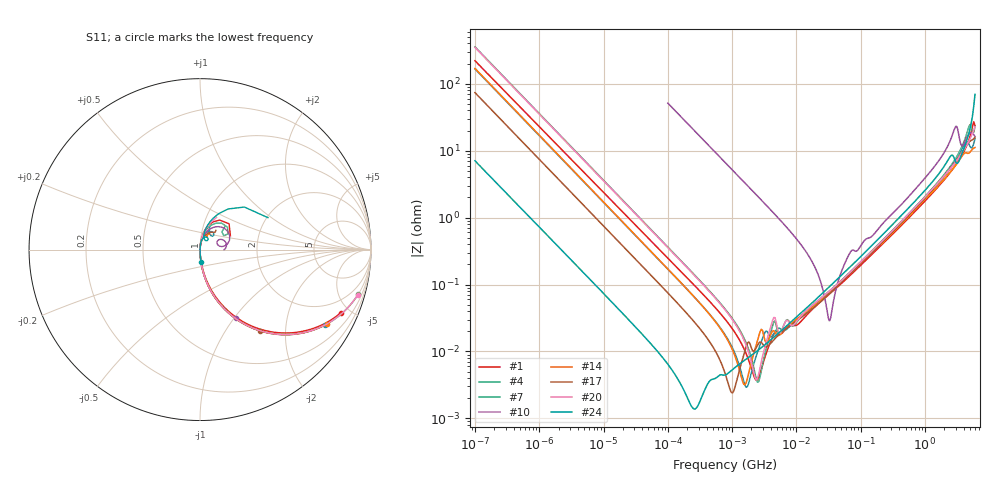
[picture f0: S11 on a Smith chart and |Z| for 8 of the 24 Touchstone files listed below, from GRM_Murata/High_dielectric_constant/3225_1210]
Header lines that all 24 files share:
!These Parameters are Measured in Series Mode Connection
!Data Generated on Mar 30, 2021
!  o--ll--o
!Port1  Port2
!  o------o
!Operation Temp=25[degC], DC Bias Voltage=0[V]
# Hz S RI R 50
!Freq.(Hz) S11(Real) S11(Imag) S21(Real) S21(Imag) S12(Real) S12(Imag) S22(Real) S22(Imag)
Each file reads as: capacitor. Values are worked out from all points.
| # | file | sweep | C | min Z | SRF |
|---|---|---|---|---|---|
| 1 | GRM32AB31C106KAB6.s2p | 100 Hz to 6 GHz | 7.18 uF | 3.71 mohm | 2.439 MHz |
| 2 | GRM32CR72A105KA35.s2p | 100 Hz to 6 GHz | 978 nF | 6.31 mohm | 5.966 MHz |
| 3 | GRM32CR72A684KA01.s2p | 100 Hz to 6 GHz | 667 nF | 8.38 mohm | 7.394 MHz |
| 4 | GRM32DB31E106KA75.s2p | 100 Hz to 6 GHz | 9.57 uF | 2.91 mohm | 1.703 MHz |
| 5 | GRM32DC72A475KE01.s2p | 100 Hz to 6 GHz | 4.48 uF | 3.96 mohm | 2.544 MHz |
| 6 | GRM32DC81E106KA12.s2p | 100 Hz to 6 GHz | 9.21 uF | 3.07 mohm | 1.725 MHz |
| 7 | GRM32DR11E475KA61.s2p | 100 Hz to 6 GHz | 4.48 uF | 3.47 mohm | 2.552 MHz |
| 8 | GRM32DR60J226MA01.s2p | 100 Hz to 6 GHz | 16.5 uF | 2.84 mohm | 1.338 MHz |
| 9 | GRM32DR72E104KW01.s2p | 100 kHz to 6 GHz | 94 nF | 19.1 mohm | 18.29 MHz |
| 10 | GRM32DR72J333KW01.s2p | 100 kHz to 6 GHz | 31 nF | 28.9 mohm | 32.8 MHz |
| 11 | GRM32DR73A153KW01.s2p | 100 kHz to 6 GHz | 14.1 nF | 50.1 mohm | 48.37 MHz |
| 12 | GRM32DR73A223KW01.s2p | 100 kHz to 6 GHz | 20.8 nF | 34.4 mohm | 39.25 MHz |
| 13 | GRM32EB3YA106KA12.s2p | 100 Hz to 6 GHz | 9.38 uF | 3.03 mohm | 1.578 MHz |
| 14 | GRM32EB3YA106MA12.s2p | 100 Hz to 6 GHz | 9.38 uF | 3.17 mohm | 1.597 MHz |
| 15 | GRM32EB11A106KA01.s2p | 100 Hz to 6 GHz | 9.65 uF | 3.17 mohm | 1.545 MHz |
| 16 | GRM32EB31A476ME20.s2p | 100 Hz to 6 GHz | 38.9 uF | 2.04 mohm | 736 kHz |
| 17 | GRM32EB31C226ME16.s2p | 100 Hz to 6 GHz | 21.6 uF | 2.4 mohm | 1.024 MHz |
| 18 | GRM32EB31E226KE15.s2p | 100 Hz to 6 GHz | 20.1 uF | 2.57 mohm | 1.092 MHz |
| 19 | GRM32EB31H106KA12.s2p | 100 Hz to 6 GHz | 10.1 uF | 2.59 mohm | 1.544 MHz |
| 20 | GRM32EB31H475KA87.s2p | 100 Hz to 6 GHz | 4.56 uF | 3.76 mohm | 2.423 MHz |
| 21 | GRM32EC70G107ME15.s2p | 100 Hz to 6 GHz | 67.4 uF | 1.83 mohm | 558.3 kHz |
| 22 | GRM32EC72A106KE05.s2p | 100 Hz to 6 GHz | 9.59 uF | 2.76 mohm | 1.622 MHz |
| 23 | GRM32EC80E227ME05.s2p | 100 Hz to 6 GHz | 173 uF | 1.45 mohm | 322.3 kHz |
| 24 | GRM32EC80E337ME05.s2p | 100 Hz to 6 GHz | 225 uF | 1.38 mohm | 275.1 kHz |
